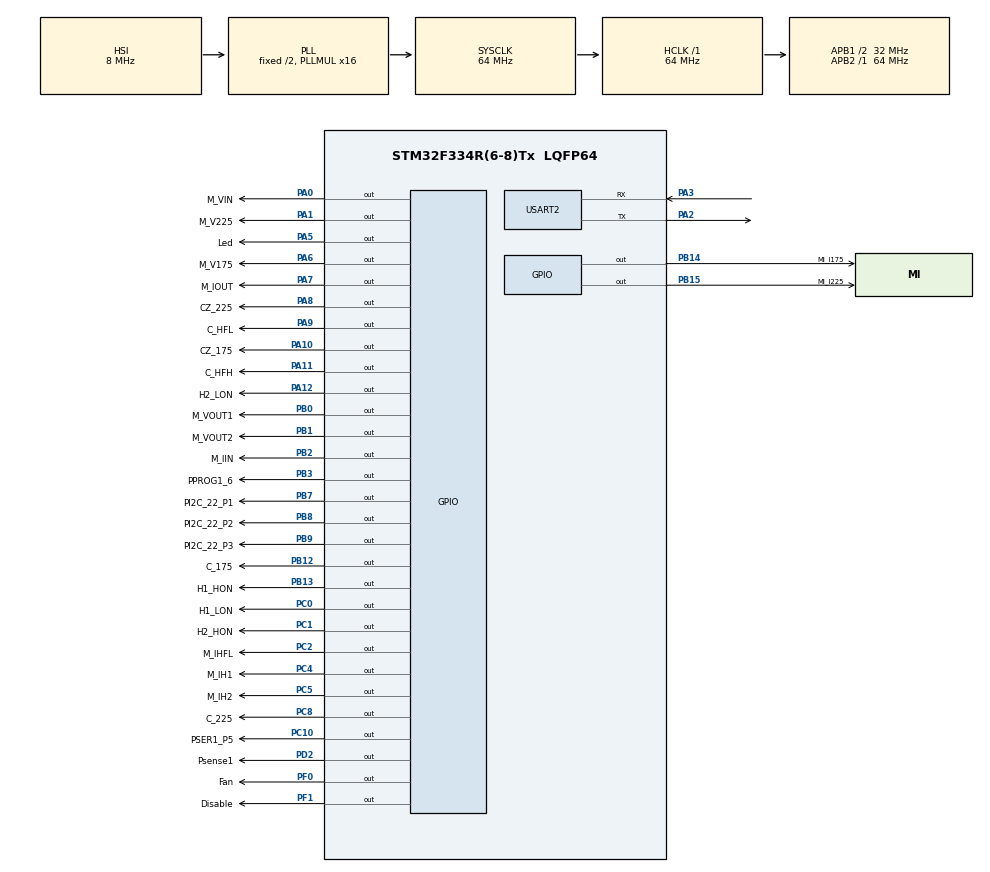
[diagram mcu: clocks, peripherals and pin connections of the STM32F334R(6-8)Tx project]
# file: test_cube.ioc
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Mcu.Family=STM32F3
Mcu.Name=STM32F334R(6-8)Tx
Mcu.Package=LQFP64
NVIC.PriorityGroup=NVIC_PRIORITYGROUP_4
PA0.GPIO_Label=M_VIN
PA0.Signal=GPIO_Output
PA1.GPIO_Label=M_V225
PA1.Signal=GPIO_Output
PA10.GPIO_Label=CZ_175
PA10.GPIO_Speed=GPIO_SPEED_FREQ_HIGH
PA10.Signal=GPIO_Output
PA11.GPIO_Label=C_HFH
PA11.GPIO_Speed=GPIO_SPEED_FREQ_HIGH
PA11.Signal=GPIO_Output
PA12.GPIO_Label=H2_LON
PA12.GPIO_Speed=GPIO_SPEED_FREQ_HIGH
PA12.Signal=GPIO_Output
PA2.Mode=Asynchronous
PA2.Signal=USART2_TX
PA3.Mode=Asynchronous
PA3.Signal=USART2_RX
PA5.GPIO_Label=Led
PA5.GPIO_Speed=GPIO_SPEED_FREQ_HIGH
PA5.Signal=GPIO_Output
PA6.GPIO_Label=M_V175
PA6.Signal=GPIO_Output
PA7.GPIO_Label=M_IOUT
PA7.Signal=GPIO_Output
PA8.GPIO_Label=CZ_225
PA8.GPIO_Speed=GPIO_SPEED_FREQ_HIGH
PA8.Signal=GPIO_Output
PA9.GPIO_Label=C_HFL
PA9.GPIO_Speed=GPIO_SPEED_FREQ_HIGH
PA9.Signal=GPIO_Output
PB0.GPIO_Label=M_VOUT1
PB0.Signal=GPIO_Output
PB1.GPIO_Label=M_VOUT2
PB1.Signal=GPIO_Output
PB12.GPIO_Label=C_175
PB12.GPIO_Speed=GPIO_SPEED_FREQ_HIGH
PB12.Signal=GPIO_Output
PB13.GPIO_Label=H1_HON
PB13.GPIO_Speed=GPIO_SPEED_FREQ_HIGH
PB13.Signal=GPIO_Output
PB14.GPIO_Label=MI_I175
PB14.Signal=GPIO_Output
PB15.GPIO_Label=MI_I225
PB15.Signal=GPIO_Output
PB2.GPIO_Label=M_IIN
PB2.Signal=GPIO_Output
PB3.GPIO_Label=PPROG1_6
PB3.Signal=GPIO_Output
PB7.GPIO_Label=PI2C_22_P1
PB7.Signal=GPIO_Output
PB8.GPIO_Label=PI2C_22_P2
PB8.Signal=GPIO_Output
PB9.GPIO_Label=PI2C_22_P3
PB9.Signal=GPIO_Output
PC0.GPIO_Label=H1_LON
PC0.GPIO_Speed=GPIO_SPEED_FREQ_HIGH
PC0.Signal=GPIO_Output
PC1.GPIO_Label=H2_HON
PC1.GPIO_Speed=GPIO_SPEED_FREQ_HIGH
PC1.Signal=GPIO_Output
PC10.GPIO_Label=PSER1_P5
PC10.Signal=GPIO_Output
PC2.GPIO_Label=M_IHFL
PC2.Signal=GPIO_Output
PC4.GPIO_Label=M_IH1
PC4.Signal=GPIO_Output
PC5.GPIO_Label=M_IH2
PC5.Signal=GPIO_Output
PC8.GPIO_Label=C_225
PC8.GPIO_Speed=GPIO_SPEED_FREQ_HIGH
PC8.Signal=GPIO_Output
PD2.GPIO_Label=Psense1
PD2.Signal=GPIO_Output
PF0\ /\ OSC_IN.GPIO_Label=Fan
PF0\ /\ OSC_IN.GPIO_Speed=GPIO_SPEED_FREQ_HIGH
PF0\ /\ OSC_IN.Signal=GPIO_Output
PF1\ /\ OSC_OUT.GPIO_Label=Disable
PF1\ /\ OSC_OUT.GPIO_Speed=GPIO_SPEED_FREQ_HIGH
PF1\ /\ OSC_OUT.Signal=GPIO_Output
ProjectManager.HeapSize=0x200
ProjectManager.StackSize=0x400
ProjectManager.TargetToolchain=Other Toolchains (GPDSC)
RCC.AHBFreq_Value=64000000
RCC.APB1CLKDivider=RCC_HCLK_DIV2
RCC.APB1Freq_Value=32000000
RCC.APB1TimFreq_Value=64000000
RCC.APB2Freq_Value=64000000
RCC.APB2TimFreq_Value=64000000
RCC.CortexFreq_Value=64000000
RCC.HCLKFreq_Value=64000000
RCC.HSE_VALUE=8000000
RCC.HSI_VALUE=8000000
RCC.LSE_VALUE=32768
RCC.PLLMUL=RCC_PLL_MUL16
RCC.SYSCLKFreq_VALUE=64000000
RCC.SYSCLKSourceVirtual=RCC_SYSCLKSOURCE_PLLCLK
USART2.VirtualMode-Asynchronous=VM_ASYNC
USART2.WordLength=WORDLENGTH_8B
board=test_cube

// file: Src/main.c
/* USER CODE BEGIN Header */
/**
  ******************************************************************************
  * @file           : main.c
  * @brief          : Main program body
  ******************************************************************************
  * @attention
  *
  * <h2><center>&copy; Copyright (c) 2019 STMicroelectronics.
  * All rights reserved.</center></h2>
  *
  * This software component is licensed by ST under BSD 3-Clause license,
  * the "License"; You may not use this file except in compliance with the
  * License. You may obtain a copy of the License at:
  *                        opensource.org/licenses/BSD-3-Clause
  *
  ******************************************************************************
  */
/* USER CODE END Header */

#include "main.h"
#include "usart.h"
#include "gpio.h"

/* USER CODE BEGIN Includes */
#include <string.h>
/* USER CODE END Includes */

/* USER CODE BEGIN PV */
/* Private variables ---------------------------------------------------------*/

/* USER CODE END PV */

void SystemClock_Config(void);
/* USER CODE BEGIN PFP */
/* Private function prototypes -----------------------------------------------*/

/* USER CODE END PFP */

/* USER CODE BEGIN 0 */
void delay_us_DWT(int uSec)
{
	volatile uint32_t cycles = (SystemCoreClock / 1000000L)*uSec;
	volatile uint32_t start = DWT->CYCCNT;
	do {
	} while (DWT->CYCCNT - start < cycles);
}

void doLoopEnd(){
	char str[] = "\r\n";
	uint8_t statusTransmit;

	//statusTransmit = HAL_UART_Transmit(&huart2, (uint8_t*)str, strlen(str), 1000);
}

//#define doInputPin doNothing
#define doInputPin doPin

void doNothing(GPIO_TypeDef* port, uint16_t pin){
}

void setPA6Input();
void setPA6Output();
void doPA6Pin(GPIO_TypeDef* port, uint16_t pin)
{
	HAL_GPIO_WritePin(port, pin, GPIO_PIN_SET);
	delay_us_DWT(100);
	HAL_GPIO_WritePin(port, pin, GPIO_PIN_RESET);
	delay_us_DWT(100);

//	HAL_GPIO_WritePin(Disable_GPIO_Port, Disable_Pin, GPIO_PIN_RESET);
//	delay_us_DWT(100);
	void setPA6Input();
	delay_us_DWT(100);
	delay_us_DWT(100);
	void setPA6Output();
	delay_us_DWT(100);

	HAL_GPIO_WritePin(port, pin, GPIO_PIN_SET);
	delay_us_DWT(100);
//	HAL_GPIO_WritePin(Disable_GPIO_Port, Disable_Pin, GPIO_PIN_SET);
//	delay_us_DWT(100);
	HAL_GPIO_WritePin(port, pin, GPIO_PIN_RESET);
	delay_us_DWT(100);
}
void doPin(GPIO_TypeDef* port, uint16_t pin)
{
	HAL_GPIO_WritePin(port, pin, GPIO_PIN_SET);
	delay_us_DWT(100);

#if DISABLE_PIN_TEST
	(Disable_GPIO_Port, Disable_Pin, GPIO_PIN_SET);
	delay_us_DWT(100);
	HAL_GPIO_WritePin(Disable_GPIO_Port, Disable_Pin, GPIO_PIN_RESET);
	delay_us_DWT(100);
#endif
	HAL_GPIO_WritePin(port, pin, GPIO_PIN_RESET);
	delay_us_DWT(100);
}
/* USER CODE END 0 */

int main(void)
{
  /* USER CODE BEGIN 1 */
	CoreDebug->DEMCR |= CoreDebug_DEMCR_TRCENA_Msk;
	DWT->CYCCNT = 0;
  // Enable hi resolution counter
	DWT->CTRL &= ~0x00000001;
	DWT->CTRL |= 0x00000001;
  /* USER CODE END 1 */

  /* MCU Configuration--------------------------------------------------------*/

  /* Reset of all peripherals, Initializes the Flash interface and the Systick. */
  HAL_Init();

  /* Configure the system clock */
  SystemClock_Config();

  /* Initialize all configured peripherals */
  MX_GPIO_Init();
  MX_USART2_UART_Init();
  /* USER CODE BEGIN 2 */
	char str[] = "Inverter starting\r\n";
	uint8_t statusTransmit;

	statusTransmit = HAL_UART_Transmit(&huart2, (uint8_t*)str, strlen(str), 1000);

  /* USER CODE END 2 */

  /* Infinite loop */
  while (1)
  {

    /* USER CODE BEGIN 3 */

	  char inputBuffer[2];
	  uint8_t status;

	  status = HAL_UART_Receive(&huart2, (uint8_t *)inputBuffer, 1,1);
	  if (status == HAL_OK) {
		  char str1[] = "Received: ";
		  uint8_t statusTransmit;

		  statusTransmit = HAL_UART_Transmit(&huart2, (uint8_t*)str1, strlen(str1), 1000);
		  statusTransmit = HAL_UART_Transmit(&huart2, (uint8_t*)inputBuffer, 1, 1000);
		  statusTransmit = HAL_UART_Transmit(&huart2, (uint8_t*)"\r\n", 2, 1000);
	  }

	  //	  doPin(_GPIO_Port, _Pin);

	  doPin(Fan_GPIO_Port, Fan_Pin);
	  doPin(Disable_GPIO_Port, Disable_Pin);
	  doPin(H1_LON_GPIO_Port, H1_LON_Pin);
	  doPin(H2_HON_GPIO_Port, H2_HON_Pin);

	  doInputPin(M_IHFL_GPIO_Port, M_IHFL_Pin);
	  doInputPin(M_VIN_GPIO_Port, M_VIN_Pin);
	  doInputPin(M_V225_GPIO_Port, M_V225_Pin);

	  doPin(Led_GPIO_Port, Led_Pin);

	  doPin(Led_GPIO_Port, Led_Pin);
	  doInputPin(M_V175_GPIO_Port, M_V175_Pin);
	  doInputPin(M_IOUT_GPIO_Port, M_IOUT_Pin);
	  doInputPin(M_IH1_GPIO_Port, M_IH1_Pin);
	  doInputPin(M_IH2_GPIO_Port, M_IH2_Pin);
	  doInputPin(M_VOUT1_GPIO_Port, M_VOUT1_Pin);
	  doInputPin(M_VOUT2_GPIO_Port, M_VOUT2_Pin);
	  doInputPin(M_IIN_GPIO_Port, M_IIN_Pin);

	  doPin(C_175_GPIO_Port, C_175_Pin);
	  doPin(H1_HON_GPIO_Port, H1_HON_Pin);

	  doInputPin(MI_I175_GPIO_Port, MI_I175_Pin);
	  doInputPin(MI_I225_GPIO_Port, MI_I225_Pin);

	  doPin(C_225_GPIO_Port, C_225_Pin);
	  doPin(CZ_225_GPIO_Port, CZ_225_Pin);
	  doPin(C_HFL_GPIO_Port, C_HFL_Pin);
	  doPin(CZ_175_GPIO_Port, CZ_175_Pin);
	  doPin(C_HFH_GPIO_Port, C_HFH_Pin);
	  doPin(H2_LON_GPIO_Port, H2_LON_Pin);

	  doPin(PPROG1_6_GPIO_Port, PPROG1_6_Pin);
//	  doPin(PROG1_P4_GPIO_Port, PROG1_P4_Pin);
//	  doPin(PROG1_P2_GPIO_Port, PROG1_P2_Pin);
	  doPin(PSER1_P5_GPIO_Port, PSER1_P5_Pin);

	  doInputPin(Psense1_GPIO_Port, Psense1_Pin);

//	  doPin(PROG1_P6_GPIO_Port, PROG1_P6_Pin);
	  doPin(PI2C_22_P1_GPIO_Port, PI2C_22_P1_Pin);
	  doPin(PI2C_22_P2_GPIO_Port, PI2C_22_P2_Pin);
	  doPin(PI2C_22_P3_GPIO_Port, PI2C_22_P3_Pin);

	  doLoopEnd();
	  HAL_Delay(2);

  }
  /* USER CODE END 3 */
}

void SystemClock_Config(void)
{
  RCC_OscInitTypeDef RCC_OscInitStruct = {0};
  RCC_ClkInitTypeDef RCC_ClkInitStruct = {0};

  /** Initializes the CPU, AHB and APB busses clocks
  */
  RCC_OscInitStruct.OscillatorType = RCC_OSCILLATORTYPE_HSI;
  RCC_OscInitStruct.HSIState = RCC_HSI_ON;
  RCC_OscInitStruct.HSICalibrationValue = RCC_HSICALIBRATION_DEFAULT;
  RCC_OscInitStruct.PLL.PLLState = RCC_PLL_ON;
  RCC_OscInitStruct.PLL.PLLSource = RCC_PLLSOURCE_HSI;
  RCC_OscInitStruct.PLL.PLLMUL = RCC_PLL_MUL16;
  if (HAL_RCC_OscConfig(&RCC_OscInitStruct) != HAL_OK)
  {
    Error_Handler();
  }
  /** Initializes the CPU, AHB and APB busses clocks
  */
  RCC_ClkInitStruct.ClockType = RCC_CLOCKTYPE_HCLK|RCC_CLOCKTYPE_SYSCLK
                              |RCC_CLOCKTYPE_PCLK1|RCC_CLOCKTYPE_PCLK2;
  RCC_ClkInitStruct.SYSCLKSource = RCC_SYSCLKSOURCE_PLLCLK;
  RCC_ClkInitStruct.AHBCLKDivider = RCC_SYSCLK_DIV1;
  RCC_ClkInitStruct.APB1CLKDivider = RCC_HCLK_DIV2;
  RCC_ClkInitStruct.APB2CLKDivider = RCC_HCLK_DIV1;

  if (HAL_RCC_ClockConfig(&RCC_ClkInitStruct, FLASH_LATENCY_2) != HAL_OK)
  {
    Error_Handler();
  }
}

void Error_Handler(void)
{
}

/************************ (C) COPYRIGHT STMicroelectronics *****END OF FILE****/
